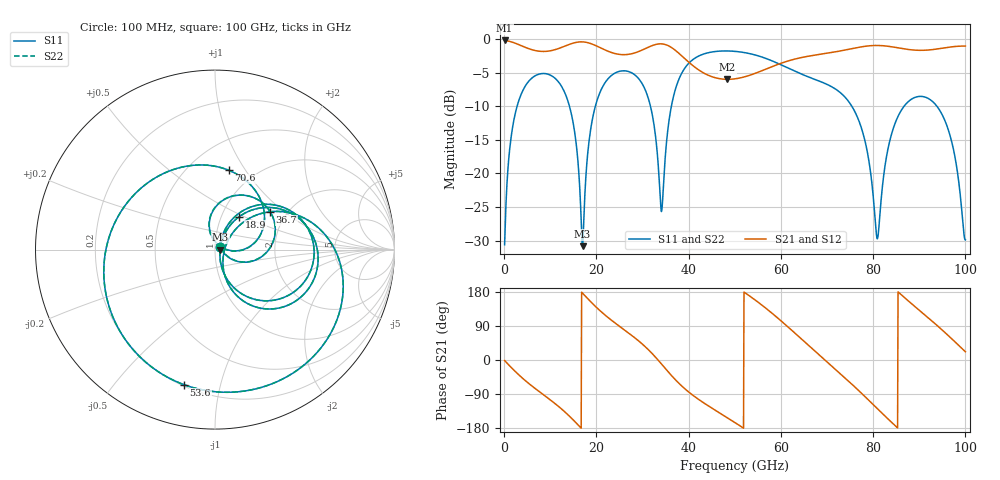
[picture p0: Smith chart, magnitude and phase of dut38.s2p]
! Touchstone file exported from HFSS 2026.1.0
!  File:  C:/ffzhzh/LocalFiles/Ansys_Project_Files/temp_train_TSV_RDL_38_1783442060_7600.aedt
!  Generated:  01:01:06 AM Jul  8, 2026
!  Design:  TSV_RDL
!  Project:  temp_train_TSV_RDL_38_1783442060_7600
! Variables:
!  h_bsmrdl = 2.47um
!  h_ox = 20um
!  h_rdl = 5um
!  h_sub = 84.33um
!  h_tmrdl = 2.58um
!  h_tsv = 84.33um
!  h_via = 3um
!  l_bsmrdl = 666.16um
!  l_sub = 3493.04um
!  l_tmrdl = 240.85um
!  m_sub = 200um
!  pitch = 44.61um
!  r_tsv = 6.58um
!  s_tmrdl = 10um
!  w_bsmrdl = 14.47um
!  w_sub = 500um
!  w_tmrdl = 29.25um
!  x_tsv_center1 = 255.475um
!  x_tsv_center2 = 936.105um
!  x_tsv_center3 = 1206.205um
!  x_tsv_center4 = 1886.835um
!  x_tsv_center5 = 2156.935um
!  x_tsv_center6 = 2837.565um
# GHz S MA R 50.000000
! Terminal data exported
! Port[1] = TM_RDL1_1_T1
! Port[2] = TM_RDL5_1_T1
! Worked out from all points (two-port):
!   1000 points, 100 MHz to 100 GHz, reference 50 ohm
!   highest |S21| = -0.23 dB at 100 MHz (marker M1); lowest = -6.0 dB at 48.4 GHz (marker M2)
!   |S21| within 3 dB of the highest: start of sweep to 39.64 GHz; 61.8 GHz to end of sweep
!   lowest |S11| = -30.8 dB at 17 GHz (marker M3), VSWR 1.06, Z = 53 - j0.0733 ohm
!   |S11| at or under -10 dB: 14.15 GHz to 19.78 GHz (5.631 GHz wide, 33.2 % of centre); 75.36 GHz to 86.73 GHz (11.37 GHz wide, 14 % of centre); 93.8 GHz to end of sweep (the widest 3 of 5)
!   |S22| runs from -30.9 to -1.8 dB; largest |S21 - S12| = 1.7e-14
!   S11 on the Smith chart (normalised r, x): 100 MHz: 1.05, +0.03; 18.9 GHz: 1.21, +0.47; 36.7 GHz: 1.64, +0.80; 53.6 GHz: 0.21, -0.77; 70.6 GHz: 0.76, +0.85; 100 GHz: 1.06, +0.03
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0.1  0.02939 26.0  0.9738 -1.4  0.9738 -1.4  0.02939 26.0
! Gamma 0 0 0 0
! Port Impedance 50 0 50 0
2.5  0.2873 52.3  0.9264 -31.4  0.9264 -31.4  0.2873 52.3
8.1  0.5517 0.2  0.8072 -87.9  0.8072 -87.9  0.5518 0.2
14.1  0.3208 -55.3  0.9095 -147.6  0.9095 -147.6  0.3208 -55.4
16.8  0.03638 -41.2  0.9508 178.8  0.9508 178.8  0.03616 -41.6
17  0.0287 -1.4  0.9504 176.2  0.9504 176.2  0.02839 -1.4
18.9  0.2278 53.7  0.92 152.1  0.92 152.1  0.2277 53.7
27.9  0.553 -27.0  0.7793 62.7  0.7793 62.7  0.553 -27.0
33.4  0.1157 -66.3  0.9167 -0.5  0.9167 -0.5  0.1157 -66.3
36.7  0.3714 34.6  0.8433 -46.6  0.8433 -46.6  0.3714 34.5
41.8  0.7343 -13.7  0.6002 -100.9  0.6002 -100.9  0.7343 -13.7
48.4  0.8135 -62.4  0.5002 -152.3  0.5002 -152.3  0.8135 -62.5
50.1  0.8076 -75.0  0.5049 -165.5  0.5049 -165.5  0.8075 -75.1
53.6  0.7721 -103.0  0.5416 165.6  0.5416 165.6  0.772 -103.1
61.2  0.6144 -176.8  0.6795 90.9  0.6795 90.9  0.6144 -176.8
66.7  0.5098 122.5  0.7511 31.0  0.7511 31.0  0.5098 122.5
70.6  0.4484 80.0  0.7882 -11.3  0.7882 -11.3  0.4483 79.9
77.4  0.2204 9.4  0.8722 -86.8  0.8722 -86.8  0.2202 9.0
80.9  0.03256 49.8  0.8938 -128.2  0.8938 -128.2  0.03041 49.7
83.4  0.1627 100.7  0.8799 -157.6  0.8799 -157.6  0.1623 101.5
92.7  0.3463 14.7  0.8315 103.5  0.8315 103.5  0.3462 15.0
100  0.03197 27.0  0.8848 21.8  0.8848 21.8  0.03366 26.9
